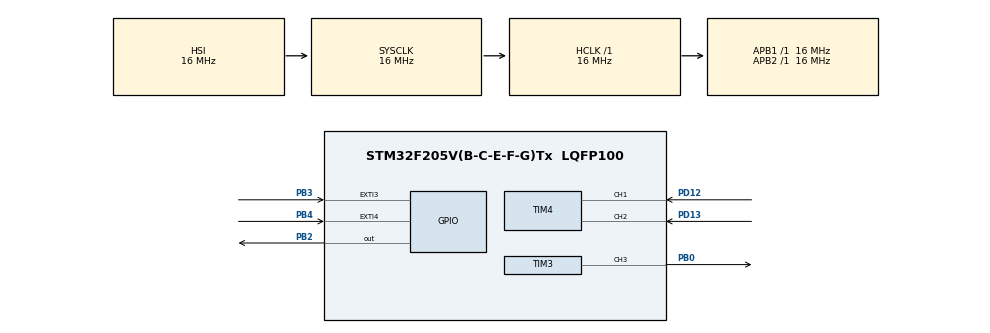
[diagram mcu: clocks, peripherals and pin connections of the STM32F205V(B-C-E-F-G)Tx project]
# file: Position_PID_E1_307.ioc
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Mcu.Family=STM32F2
Mcu.Name=STM32F205V(B-C-E-F-G)Tx
Mcu.Package=LQFP100
NVIC.EXTI4_IRQn=true\:0\:0\:false\:false\:true\:true\:true\:true
NVIC.PriorityGroup=NVIC_PRIORITYGROUP_4
NVIC.TIM2_IRQn=true\:0\:0\:false\:false\:true\:true\:true\:true
NVIC.TIM3_IRQn=true\:0\:0\:false\:false\:true\:true\:true\:true
NVIC.TIM4_IRQn=true\:0\:0\:false\:false\:true\:true\:true\:true
PA13.Mode=Serial_Wire
PA13.Signal=SYS_JTMS-SWDIO
PA14.Mode=Serial_Wire
PA14.Signal=SYS_JTCK-SWCLK
PB0.Signal=S_TIM3_CH3
PB2.Signal=GPIO_Output
PB3.GPIO_ModeDefaultEXTI=GPIO_MODE_IT_RISING_FALLING
PB3.GPIO_PuPd=GPIO_PULLUP
PB3.Signal=GPXTI3
PB4.GPIO_ModeDefaultEXTI=GPIO_MODE_IT_RISING
PB4.GPIO_PuPd=GPIO_PULLUP
PB4.Signal=GPXTI4
PD12.Signal=S_TIM4_CH1
PD13.Signal=S_TIM4_CH2
ProjectManager.HeapSize=0x200
ProjectManager.StackSize=0x400
ProjectManager.TargetToolchain=STM32CubeIDE
RCC.48MHZClocksFreq_Value=48000000
RCC.AHBFreq_Value=16000000
RCC.APB1Freq_Value=16000000
RCC.APB1TimFreq_Value=16000000
RCC.APB2Freq_Value=16000000
RCC.APB2TimFreq_Value=16000000
RCC.CortexFreq_Value=16000000
RCC.HCLKFreq_Value=16000000
RCC.HSE_VALUE=25000000
RCC.HSI_VALUE=16000000
RCC.LSE_VALUE=32768
RCC.SYSCLKFreq_VALUE=16000000
RCC.VCOOutputFreq_Value=192000000
SH.S_TIM3_CH3.0=TIM3_CH3,PWM Generation3 CH3
SH.S_TIM4_CH1.0=TIM4_CH1,Encoder_Interface
SH.S_TIM4_CH2.0=TIM4_CH2,Encoder_Interface
TIM2.Period=1000-1
TIM2.Prescaler=16-1
TIM3.Channel-PWM\ Generation3\ CH3=TIM_CHANNEL_3
TIM3.Period=100-1
TIM3.Prescaler=16-1
TIM4.EncoderMode=TIM_ENCODERMODE_TI12
TIM4.IC1Polarity=TIM_ICPOLARITY_FALLING
TIM4.IC2Polarity=TIM_ICPOLARITY_FALLING
VP_TIM2_VS_ClockSourceINT.Mode=Internal
VP_TIM3_VS_ClockSourceINT.Mode=Internal
board=custom

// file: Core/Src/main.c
/* USER CODE BEGIN Header */
/**
  ******************************************************************************
  * @file           : main.c
  * @brief          : Main program body
  ******************************************************************************
  * @attention
  *
  * Copyright (c) 2023 STMicroelectronics.
  * All rights reserved.
  *
  * This software is licensed under terms that can be found in the LICENSE file
  * in the root directory of this software component.
  * If no LICENSE file comes with this software, it is provided AS-IS.
  *
  ******************************************************************************
  */
/* USER CODE END Header */
#include "main.h"

/* USER CODE BEGIN Includes */
#include <stdlib.h>
/* USER CODE END Includes */

/* USER CODE BEGIN PTD */
int dir;
int pwr;
/* USER CODE END PTD */

/* USER CODE BEGIN PM */
//POS_SERVO:
int u2;
int e2;
int pre_e2;
float ei2;
float ed2;
int t = 10000;
float kp2 = 1.28,ki2 = 0.00005,kd2 = 0.005;
int count;
unsigned char previous_state = 0;
//uint16_t N = 2000;
/* USER CODE END PM */

TIM_HandleTypeDef htim2;
TIM_HandleTypeDef htim3;
TIM_HandleTypeDef htim4;

void SystemClock_Config(void);
static void MX_GPIO_Init(void);
static void MX_TIM3_Init(void);
static void MX_TIM2_Init(void);
static void MX_TIM4_Init(void);
/* USER CODE BEGIN PFP */
//void HAL_TIM_IC_CaptureCallback(TIM_HandleTypeDef *htim)
//{
//	count =__HAL_TIM_GET_COUNTER(htim);
//}
void HAL_GPIO_EXTI_Callback(uint16_t GPIO_Pin)
{
	if (GPIO_Pin == GPIO_PIN_4){
		if ((GPIOB -> IDR & GPIO_PIN_3) == 0) count++;
		else count--;
	}

}

//void HAL_GPIO_EXTI_Callback(uint16_t GPIO_Pin)
//{
//	unsigned char State0;
//	State0 = (State0<<1) | (GPIOB->IDR & GPIO_PIN_3);
//	State0 = (State0<<1) | (GPIOB->IDR & GPIO_PIN_4);
//	State0 = State0 & 0x03;
//
//	switch (State0)
//	{
//		case 0:
//			if (previous_state == 1) count++;
//			else count--;
//			break;
//		case 1:
//			if (previous_state == 3) count++;
//			else count--;
//			break;
//		case 2:
//			if (previous_state == 0) count ++;
//			else count--;
//			break;
//		case 3:
//			if (previous_state == 2) count++;
//			else count--;
//			break;
//	}
//	previous_state = State0;
//
//	if (count > N) count = 0;
//	else if (count < -N) count = 0;
//}

void HAL_TIM_PeriodElapsedCallback(TIM_HandleTypeDef *htim)
  {

  	e2 = t - count;
  	ei2 += e2 * 0.001;
  	if (ei2>1000){
  		ei2 =1000;
  	}
  	else if(ei2<-1000) {
  		ei2 =-1000;
  	}
  	ed2 = (e2 - pre_e2) / 0.001;
  	u2 = kp2*e2 + ki2*ei2 + kd2*ed2;
  	pre_e2 = e2;

  	if(u2 < 0) dir = 1;
	else dir = -1;
	pwr = abs(u2);
	if(pwr > 40) pwr = 40;
	if ((pwr<8)&&(e2 !=0)){pwr=8;}

    /* USER CODE END Callback 1 */
  }

void setMotor(int dir , int pwmVal){
  	if (dir == -1){
  		__HAL_TIM_SET_COMPARE(&htim3, TIM_CHANNEL_2,100-pwmVal);
  		GPIOC -> ODR &= ~GPIO_PIN_7;
  	}
  	else if (dir == 1){
  		__HAL_TIM_SET_COMPARE(&htim3, TIM_CHANNEL_2,100-pwmVal);
  		GPIOC -> ODR |= GPIO_PIN_7;
  	}
  	else{
  		__HAL_TIM_SET_COMPARE(&htim3, TIM_CHANNEL_2, 100);
  	}
}

/* USER CODE END PFP */

int main(void)
{

  /* MCU Configuration--------------------------------------------------------*/

  /* Reset of all peripherals, Initializes the Flash interface and the Systick. */
  HAL_Init();

  /* Configure the system clock */
  SystemClock_Config();

  /* Initialize all configured peripherals */
  MX_GPIO_Init();
  MX_TIM3_Init();
  MX_TIM2_Init();
  MX_TIM4_Init();
  /* USER CODE BEGIN 2 */
  HAL_TIM_PWM_Start(&htim3,TIM_CHANNEL_3);
  HAL_TIM_Base_Start_IT(&htim2);
//  HAL_TIM_Encoder_Start_IT(&htim2, TIM_CHANNEL_ALL);

  GPIOB -> ODR |= GPIO_PIN_2;

  /* USER CODE END 2 */

  /* Infinite loop */
  /* USER CODE BEGIN WHILE */
  while (1)
  {
//	  GPIOB -> ODR ^= GPIO_PIN_2;
//	  HAL_Delay(1000);

	  setMotor(dir, pwr);

    /* USER CODE END WHILE */

  }
}

void SystemClock_Config(void)
{
  RCC_OscInitTypeDef RCC_OscInitStruct = {0};
  RCC_ClkInitTypeDef RCC_ClkInitStruct = {0};

  /** Initializes the RCC Oscillators according to the specified parameters
  * in the RCC_OscInitTypeDef structure.
  */
  RCC_OscInitStruct.OscillatorType = RCC_OSCILLATORTYPE_HSI;
  RCC_OscInitStruct.HSIState = RCC_HSI_ON;
  RCC_OscInitStruct.HSICalibrationValue = RCC_HSICALIBRATION_DEFAULT;
  RCC_OscInitStruct.PLL.PLLState = RCC_PLL_NONE;
  if (HAL_RCC_OscConfig(&RCC_OscInitStruct) != HAL_OK)
  {
    Error_Handler();
  }

  /** Initializes the CPU, AHB and APB buses clocks
  */
  RCC_ClkInitStruct.ClockType = RCC_CLOCKTYPE_HCLK|RCC_CLOCKTYPE_SYSCLK
                              |RCC_CLOCKTYPE_PCLK1|RCC_CLOCKTYPE_PCLK2;
  RCC_ClkInitStruct.SYSCLKSource = RCC_SYSCLKSOURCE_HSI;
  RCC_ClkInitStruct.AHBCLKDivider = RCC_SYSCLK_DIV1;
  RCC_ClkInitStruct.APB1CLKDivider = RCC_HCLK_DIV1;
  RCC_ClkInitStruct.APB2CLKDivider = RCC_HCLK_DIV1;

  if (HAL_RCC_ClockConfig(&RCC_ClkInitStruct, FLASH_LATENCY_0) != HAL_OK)
  {
    Error_Handler();
  }
}

static void MX_TIM2_Init(void)
{

  TIM_ClockConfigTypeDef sClockSourceConfig = {0};
  TIM_MasterConfigTypeDef sMasterConfig = {0};

  htim2.Instance = TIM2;
  htim2.Init.Prescaler = 16-1;
  htim2.Init.CounterMode = TIM_COUNTERMODE_UP;
  htim2.Init.Period = 1000-1;
  htim2.Init.ClockDivision = TIM_CLOCKDIVISION_DIV1;
  htim2.Init.AutoReloadPreload = TIM_AUTORELOAD_PRELOAD_DISABLE;
  if (HAL_TIM_Base_Init(&htim2) != HAL_OK)
  {
    Error_Handler();
  }
  sClockSourceConfig.ClockSource = TIM_CLOCKSOURCE_INTERNAL;
  if (HAL_TIM_ConfigClockSource(&htim2, &sClockSourceConfig) != HAL_OK)
  {
    Error_Handler();
  }
  sMasterConfig.MasterOutputTrigger = TIM_TRGO_RESET;
  sMasterConfig.MasterSlaveMode = TIM_MASTERSLAVEMODE_DISABLE;
  if (HAL_TIMEx_MasterConfigSynchronization(&htim2, &sMasterConfig) != HAL_OK)
  {
    Error_Handler();
  }

}

static void MX_TIM3_Init(void)
{

  TIM_ClockConfigTypeDef sClockSourceConfig = {0};
  TIM_MasterConfigTypeDef sMasterConfig = {0};
  TIM_OC_InitTypeDef sConfigOC = {0};

  htim3.Instance = TIM3;
  htim3.Init.Prescaler = 16-1;
  htim3.Init.CounterMode = TIM_COUNTERMODE_UP;
  htim3.Init.Period = 100-1;
  htim3.Init.ClockDivision = TIM_CLOCKDIVISION_DIV1;
  htim3.Init.AutoReloadPreload = TIM_AUTORELOAD_PRELOAD_DISABLE;
  if (HAL_TIM_Base_Init(&htim3) != HAL_OK)
  {
    Error_Handler();
  }
  sClockSourceConfig.ClockSource = TIM_CLOCKSOURCE_INTERNAL;
  if (HAL_TIM_ConfigClockSource(&htim3, &sClockSourceConfig) != HAL_OK)
  {
    Error_Handler();
  }
  if (HAL_TIM_PWM_Init(&htim3) != HAL_OK)
  {
    Error_Handler();
  }
  sMasterConfig.MasterOutputTrigger = TIM_TRGO_RESET;
  sMasterConfig.MasterSlaveMode = TIM_MASTERSLAVEMODE_DISABLE;
  if (HAL_TIMEx_MasterConfigSynchronization(&htim3, &sMasterConfig) != HAL_OK)
  {
    Error_Handler();
  }
  sConfigOC.OCMode = TIM_OCMODE_PWM1;
  sConfigOC.Pulse = 0;
  sConfigOC.OCPolarity = TIM_OCPOLARITY_HIGH;
  sConfigOC.OCFastMode = TIM_OCFAST_DISABLE;
  if (HAL_TIM_PWM_ConfigChannel(&htim3, &sConfigOC, TIM_CHANNEL_3) != HAL_OK)
  {
    Error_Handler();
  }
  HAL_TIM_MspPostInit(&htim3);

}

static void MX_TIM4_Init(void)
{

  TIM_Encoder_InitTypeDef sConfig = {0};
  TIM_MasterConfigTypeDef sMasterConfig = {0};

  htim4.Instance = TIM4;
  htim4.Init.Prescaler = 0;
  htim4.Init.CounterMode = TIM_COUNTERMODE_UP;
  htim4.Init.Period = 65535;
  htim4.Init.ClockDivision = TIM_CLOCKDIVISION_DIV1;
  htim4.Init.AutoReloadPreload = TIM_AUTORELOAD_PRELOAD_DISABLE;
  sConfig.EncoderMode = TIM_ENCODERMODE_TI12;
  sConfig.IC1Polarity = TIM_ICPOLARITY_FALLING;
  sConfig.IC1Selection = TIM_ICSELECTION_DIRECTTI;
  sConfig.IC1Prescaler = TIM_ICPSC_DIV1;
  sConfig.IC1Filter = 0;
  sConfig.IC2Polarity = TIM_ICPOLARITY_FALLING;
  sConfig.IC2Selection = TIM_ICSELECTION_DIRECTTI;
  sConfig.IC2Prescaler = TIM_ICPSC_DIV1;
  sConfig.IC2Filter = 0;
  if (HAL_TIM_Encoder_Init(&htim4, &sConfig) != HAL_OK)
  {
    Error_Handler();
  }
  sMasterConfig.MasterOutputTrigger = TIM_TRGO_RESET;
  sMasterConfig.MasterSlaveMode = TIM_MASTERSLAVEMODE_DISABLE;
  if (HAL_TIMEx_MasterConfigSynchronization(&htim4, &sMasterConfig) != HAL_OK)
  {
    Error_Handler();
  }

}

static void MX_GPIO_Init(void)
{
  GPIO_InitTypeDef GPIO_InitStruct = {0};

  /* GPIO Ports Clock Enable */
  __HAL_RCC_GPIOB_CLK_ENABLE();
  __HAL_RCC_GPIOD_CLK_ENABLE();
  __HAL_RCC_GPIOA_CLK_ENABLE();

  /*Configure GPIO pin Output Level */
  HAL_GPIO_WritePin(GPIOB, GPIO_PIN_2, GPIO_PIN_RESET);

  /*Configure GPIO pin : PB2 */
  GPIO_InitStruct.Pin = GPIO_PIN_2;
  GPIO_InitStruct.Mode = GPIO_MODE_OUTPUT_PP;
  GPIO_InitStruct.Pull = GPIO_NOPULL;
  GPIO_InitStruct.Speed = GPIO_SPEED_FREQ_LOW;
  HAL_GPIO_Init(GPIOB, &GPIO_InitStruct);

  /*Configure GPIO pin : PB3 */
  GPIO_InitStruct.Pin = GPIO_PIN_3;
  GPIO_InitStruct.Mode = GPIO_MODE_IT_RISING_FALLING;
  GPIO_InitStruct.Pull = GPIO_PULLUP;
  HAL_GPIO_Init(GPIOB, &GPIO_InitStruct);

  /*Configure GPIO pin : PB4 */
  GPIO_InitStruct.Pin = GPIO_PIN_4;
  GPIO_InitStruct.Mode = GPIO_MODE_IT_RISING;
  GPIO_InitStruct.Pull = GPIO_PULLUP;
  HAL_GPIO_Init(GPIOB, &GPIO_InitStruct);

  /* EXTI interrupt init*/
  HAL_NVIC_SetPriority(EXTI4_IRQn, 0, 0);
  HAL_NVIC_EnableIRQ(EXTI4_IRQn);

}

void Error_Handler(void)
{
  __disable_irq();
  while (1)
  {
  }
}
